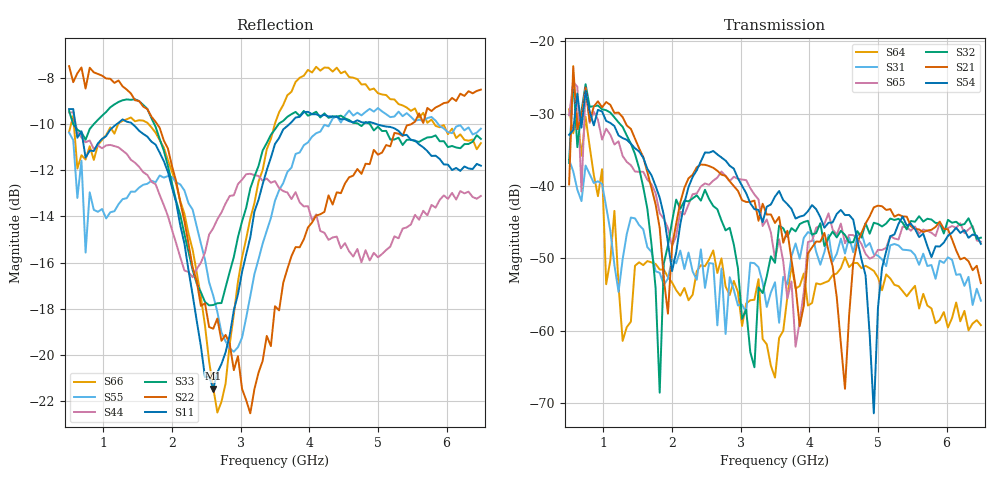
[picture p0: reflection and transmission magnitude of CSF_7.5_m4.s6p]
!Keysight Technologies,M9804A,MY58100912,A.14.10.03
!Date: Thursday, April 27, 2023 10:28:33
!Correction: S11(C  6-Port  )
!S12(C  6-Port  )
!S13(C  6-Port  )
!S14(C  6-Port  )
!S15(C  6-Port  )
!S16(C  6-Port  )
!S21(C  6-Port  )
!S22(C  6-Port  )
!S23(C  6-Port  )
!S24(C  6-Port  )
!S25(C  6-Port  )
!S26(C  6-Port  )
!S31(C  6-Port  )
!S32(C  6-Port  )
!S33(C  6-Port  )
!S34(C  6-Port  )
!S35(C  6-Port  )
!S36(C  6-Port  )
!S41(C  6-Port  )
!S42(C  6-Port  )
!S43(C  6-Port  )
!S44(C  6-Port  )
!S45(C  6-Port  )
!S46(C  6-Port  )
!S51(C  6-Port  )
!S52(C  6-Port  )
!S53(C  6-Port  )
!S54(C  6-Port  )
!S55(C  6-Port  )
!S56(C  6-Port  )
!S61(C  6-Port  )
!S62(C  6-Port  )
!S63(C  6-Port  )
!S64(C  6-Port  )
!S65(C  6-Port  )
!S66(C  6-Port  )
!S6P File: Measurement: :
# Hz S  RI  R 50
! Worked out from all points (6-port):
!   101 points, 500 MHz to 6.5 GHz, reference 50 ohm
!   strongest paths, dB at 500 MHz, 2 GHz, 3.5 GHz, 5 GHz, 6.5 GHz:
!     S54: -32.9, -51.8, -41.5, -56.9, -48.0
!     S21: -39.8, -48.3, -45.1, -42.7, -53.4
!     S32: -36.8, -44.9, -50.6, -45.3, -47.2
!     S65: -30.2, -48.3, -50.1, -48.8, -47.7
!     S31: -36.4, -50.2, -53.3, -49.6, -55.9
!     S64: -29.4, -53.3, -66.5, -52.6, -59.2
!   lowest |S11| = -21.4 dB at 2.6 GHz (marker M1), VSWR 1.19, Z = 42.5 + j2.17 ohm
!   |S11| at or under -10 dB: 591 MHz to 1.199 GHz (607.7 MHz wide, 67.9 % of centre); 1.421 GHz to 3.713 GHz (2.291 GHz wide, 89.3 % of centre); 4.97 GHz to end of sweep
